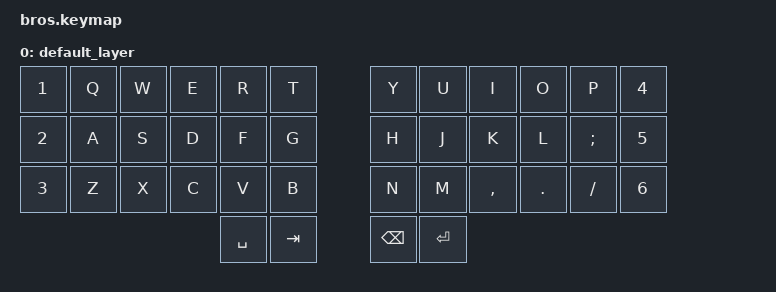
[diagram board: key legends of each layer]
/*
 * Copyright (c) 2020 Bluebell Keyboards
 * SPDX-License-Identifier: MIT
 */

#include <behaviors.dtsi>
#include <dt-bindings/zmk/keys.h>
#include <dt-bindings/zmk/bt.h>

/ {
    keymap {
        compatible = "zmk,keymap";
        default_layer {
            bindings = <
                &kp N1   &kp Q    &kp W    &kp E    &kp R    &kp T    &kp Y    &kp U    &kp I     &kp O    &kp P    &kp N4
                &kp N2   &kp A    &kp S    &kp D    &kp F    &kp G    &kp H    &kp J    &kp K     &kp L    &kp SEMI &kp N5
                &kp N3   &kp Z    &kp X    &kp C    &kp V    &kp B    &kp N    &kp M    &kp COMMA &kp DOT  &kp FSLH &kp N6
                                           &kp SPC  &kp TAB  &kp BSPC &kp RET
            >;
        };
    };
};
